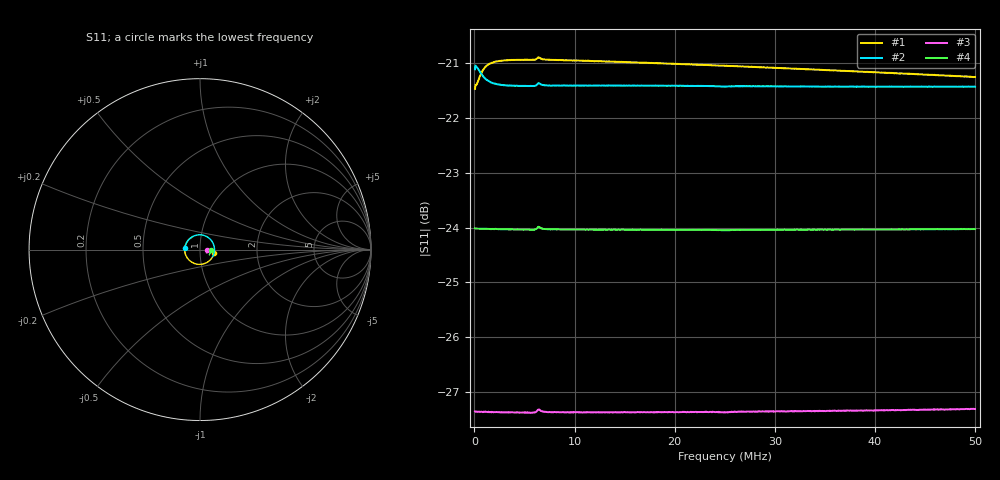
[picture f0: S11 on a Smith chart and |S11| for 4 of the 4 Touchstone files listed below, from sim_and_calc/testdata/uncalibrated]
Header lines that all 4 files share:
# HZ S RI R 50
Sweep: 50 kHz to 50 MHz
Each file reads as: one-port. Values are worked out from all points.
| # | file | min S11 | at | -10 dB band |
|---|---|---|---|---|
| 1 | c_50K_50M.s1p | -21.5 dB | 50 kHz | over 49.95 MHz wide |
| 2 | L10u_50K_50M.s1p | -21.4 dB | 42.87 MHz | over 49.95 MHz wide |
| 3 | R150_50K_50M.s1p | -27.4 dB | 5.594 MHz | over 49.95 MHz wide |
| 4 | R330_50K_50M.s1p | -24.0 dB | 25.1 MHz | over 49.95 MHz wide |
